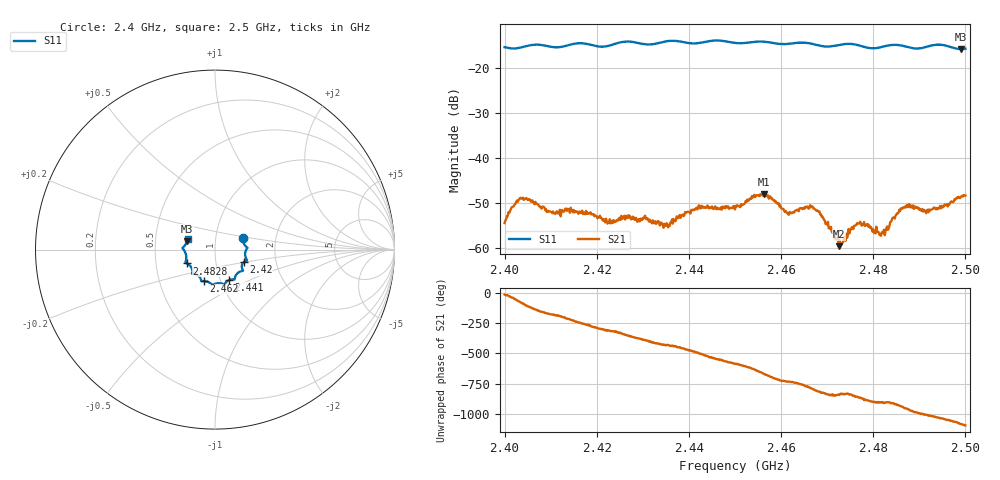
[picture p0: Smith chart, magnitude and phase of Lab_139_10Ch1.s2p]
# Hz S RI R 50
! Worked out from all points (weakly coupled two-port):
!   601 points, 2.4 GHz to 2.5 GHz, reference 50 ohm
!   highest |S21| = -47.96 dB at 2.4563 GHz (marker M1); lowest = -59.5 dB at 2.4725 GHz (marker M2)
!   lowest |S11| = -15.8 dB at 2.499 GHz (marker M3), VSWR 1.39, Z = 36.5 + j3.49 ohm
!   |S11| at or under -10 dB: start of sweep to end of sweep
!   S12 and S22 are empty: the file has one direction only
!   S11 on the Smith chart (normalised r, x): 2.4 GHz: 1.36, +0.18; 2.42 GHz: 1.36, -0.20; 2.441 GHz: 1.10, -0.39; 2.462 GHz: 0.84, -0.30; 2.4828 GHz: 0.72, -0.11; 2.5 GHz: 0.73, +0.09
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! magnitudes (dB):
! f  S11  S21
! 2.4 GHz  -15.4  -54.3
! 2.4035 GHz  -15.5  -48.8
! 2.4105 GHz  -15.4  -51.8
! 2.4167 GHz  -14.5  -52.2
! 2.42 GHz  -15.2  -52.9
! 2.4227 GHz  -15.1  -54.3
! 2.4333 GHz  -14.5  -53.9
! 2.4353 GHz  -14.1  -54.6
! 2.441 GHz  -14.6  -51.5
! 2.45 GHz  -14.5  -51.3
! 2.4563 GHz  -14.2  -48.0
! 2.462 GHz  -14.6  -52.1
! 2.4667 GHz  -14.6  -50.8
! 2.4725 GHz  -14.9  -59.5
! 2.4768 GHz  -15.0  -54.5
! 2.4813 GHz  -15.5  -56.9
! 2.4828 GHz  -15.1  -55.7
! 2.4833 GHz  -15.0  -55.6
! 2.4868 GHz  -15.2  -50.9
! 2.492 GHz  -15.2  -52.0
! 2.499 GHz  -15.8  -48.5
! 2.5 GHz  -15.7  -48.3
